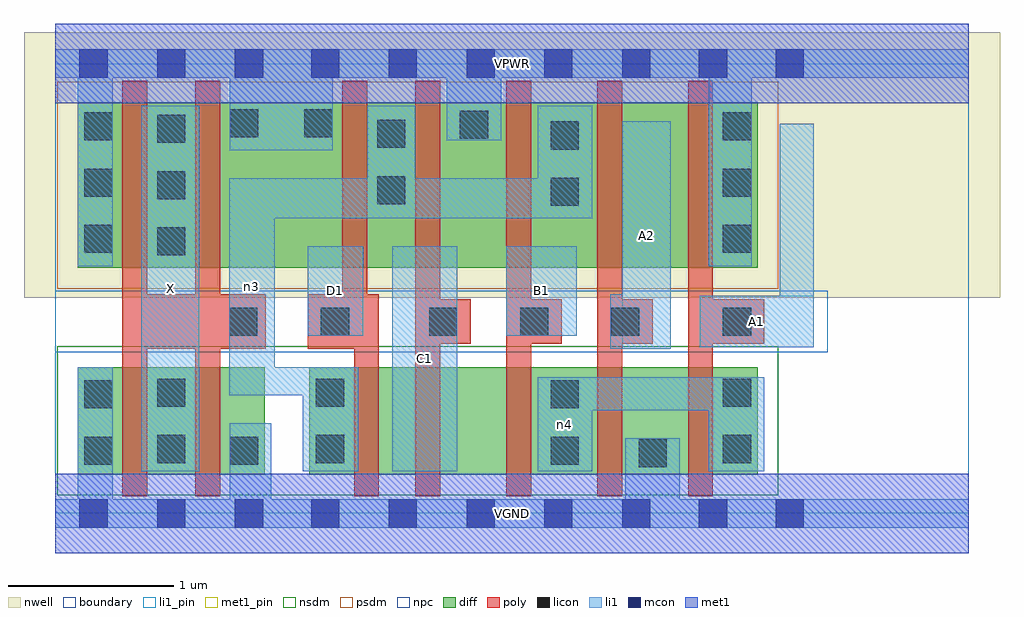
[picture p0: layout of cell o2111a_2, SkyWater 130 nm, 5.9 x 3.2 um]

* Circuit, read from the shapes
.subckt o2111a_2 A1 A2 B1 C1 D1 VGND VPWR X n3 n4
XM1 X n3 VGND VSUBS sky130_fd_pr__nfet_01v8 w=0.65 l=0.15 m=2
XM2 n1 D1 n3 VSUBS sky130_fd_pr__nfet_01v8 w=0.65 l=0.15
XM3 n2 C1 n1 VSUBS sky130_fd_pr__nfet_01v8 w=0.65 l=0.15
XM4 n4 B1 n2 VSUBS sky130_fd_pr__nfet_01v8 w=0.65 l=0.15
XM5 VGND A2 n4 VSUBS sky130_fd_pr__nfet_01v8 w=0.65 l=0.15
XM6 n4 A1 VGND VSUBS sky130_fd_pr__nfet_01v8 w=0.65 l=0.15
XM7 X n3 VPWR n5 sky130_fd_pr__pfet_01v8 w=1 l=0.15 m=2
XM8 n3 D1 VPWR n5 sky130_fd_pr__pfet_01v8 w=1 l=0.15
XM9 VPWR C1 n3 n5 sky130_fd_pr__pfet_01v8 w=1 l=0.15
XM10 n3 B1 VPWR n5 sky130_fd_pr__pfet_01v8 w=1 l=0.15
XM11 n6 A2 n3 n5 sky130_fd_pr__pfet_01v8 w=1 l=0.15
XM12 VPWR A1 n6 n5 sky130_fd_pr__pfet_01v8 w=1 l=0.15
.ends

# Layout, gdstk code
import gdstk
lib = gdstk.Library(unit=1e-6, precision=1e-09)
def R(c, l, rs):  # rectangles x0, y0, x1, y1
    for r in rs: c.add(gdstk.rectangle(r[:2], r[2:], *l))
def A(c, l, x, y, w, h, nx, ny, dx, dy):  # array of equal rectangles
    R(c, l, [(x+i*dx, y+j*dy, x+i*dx+w, y+j*dy+h) for i in range(nx) for j in range(ny)])
nwell = (64, 20)
diff = (65, 20)
poly = (66, 20)
licon = (66, 44)
li1_pin = (67, 16)
li1 = (67, 20)
mcon = (67, 44)
met1_pin = (68, 16)
met1 = (68, 20)
nsdm = (93, 44)
psdm = (94, 20)
npc = (95, 20)
boundary = (235, 4)

o2111a_2 = lib.new_cell('o2111a_2')
R(o2111a_2, nwell, [(-0.19,1.305,5.71,2.91), (0,1.305,5.52,2.91)])
R(o2111a_2, diff, [(0.135,0.235,1.265,0.885), (1.535,0.235,4.245,0.885), (0.135,1.485,4.245,2.485)])
A(o2111a_2, poly, 2.175, 0.105, 0.15, 2.51, 4, 1, 0.55, 0)
A(o2111a_2, poly, 2.175, 1.025, 0.335, 0.27, 3, 1, 0.55, 0)
R(o2111a_2, poly, [(0.405,0.105,0.555,2.615), (0.845,0.105,0.995,2.615), (1.805,0.105,1.955,1.325), (0.405,0.995,1.27,1.325), (1.525,0.995,1.955,1.325), (1.735,0.995,1.885,2.615), (3.825,1.025,4.285,1.295)])
A(o2111a_2, licon, 2.26, 1.075, 0.17, 0.17, 3, 1, 0.55, 0)
A(o2111a_2, licon, 0.615, 1.56, 0.17, 0.17, 1, 3, 0, 0.34)
A(o2111a_2, licon, 0.175, 1.575, 0.17, 0.17, 1, 3, 0, 0.34)
A(o2111a_2, licon, 4.035, 1.575, 0.17, 0.17, 1, 3, 0, 0.34)
R(o2111a_2, licon, [(3.525,0.28,3.695,0.45), (0.175,0.295,0.345,0.465), (1.055,0.295,1.225,0.465), (2.995,0.295,3.165,0.465), (0.615,0.305,0.785,0.475), (1.575,0.305,1.745,0.475), (4.035,0.305,4.205,0.475), (0.175,0.635,0.345,0.805), (2.995,0.635,3.165,0.805), (0.615,0.645,0.785,0.815), (1.575,0.645,1.745,0.815), (4.035,0.645,4.205,0.815), (1.05,1.075,1.22,1.245), (1.605,1.075,1.775,1.245), (4.035,1.075,4.205,1.245), (2.995,1.86,3.165,2.03), (1.945,1.87,2.115,2.04), (2.995,2.2,3.165,2.37), (1.945,2.21,2.115,2.38), (2.445,2.265,2.615,2.435), (1.055,2.275,1.225,2.445), (1.505,2.275,1.675,2.445)])
R(o2111a_2, li1_pin, [(0.52,0.255,0.87,2.465), (2.035,0.255,2.43,1.615), (3.425,0.995,3.72,2.37), (3.895,1.005,4.585,1.315), (1.525,1.075,1.86,1.615), (2.725,1.075,3.15,1.615)])
R(o2111a_2, li1, [(0,-0.085,5.52,0.085), (0.135,-0.085,0.345,0.885), (1.055,-0.085,1.305,0.545), (3.445,-0.085,3.775,0.455), (0.52,0.255,0.87,2.465), (1.495,0.255,1.83,0.885), (2.035,0.255,2.43,1.615), (2.915,0.255,3.245,0.825), (3.95,0.255,4.285,0.825), (2.915,0.625,4.285,0.825), (1.05,0.715,1.325,2.025), (1.05,0.715,1.83,0.885), (3.355,0.995,3.72,1.325), (3.425,0.995,3.72,2.37), (3.895,1.005,4.585,1.315), (4.38,1.005,4.585,2.355), (1.525,1.075,1.86,1.615), (2.725,1.075,3.15,1.615), (0.135,1.495,0.345,2.805), (3.95,1.495,4.21,2.805), (1.05,1.785,3.245,2.025), (1.885,1.785,2.175,2.465), (2.915,1.785,3.245,2.465), (1.055,2.195,1.675,2.805), (2.365,2.255,2.695,2.805), (0,2.635,5.52,2.805)])
A(o2111a_2, mcon, 0.145, -0.085, 0.17, 0.17, 3, 2, 0.47, 2.72)
A(o2111a_2, mcon, 1.545, -0.085, 0.17, 0.17, 5, 2, 0.47, 2.72)
R(o2111a_2, mcon, [(3.89,-0.085,4.06,0.085), (4.355,-0.085,4.525,0.085), (3.89,2.635,4.06,2.805), (4.355,2.635,4.525,2.805)])
R(o2111a_2, met1_pin, [(0,-0.24,5.52,0.24), (0,2.48,5.52,2.96)])
R(o2111a_2, met1, [(0,-0.24,5.52,0.24), (0,2.48,5.52,2.96)])
R(o2111a_2, nsdm, [(0.01,0.11,4.37,1.01)])
R(o2111a_2, psdm, [(0.01,1.36,4.37,2.61)])
R(o2111a_2, npc, [(0,0.975,4.67,1.345)])
R(o2111a_2, boundary, [(0,0,5.52,2.72)])
o2111a_2.add(gdstk.Label('A1', (4.24,1.16), layer=67, texttype=5))
o2111a_2.add(gdstk.Label('A2', (3.572,1.682), layer=67, texttype=5))
o2111a_2.add(gdstk.Label('B1', (2.937,1.345), layer=67, texttype=5))
o2111a_2.add(gdstk.Label('C1', (2.232,0.935), layer=67, texttype=5))
o2111a_2.add(gdstk.Label('D1', (1.692,1.345), layer=67, texttype=5))
o2111a_2.add(gdstk.Label('X', (0.695,1.36), layer=67, texttype=5))
o2111a_2.add(gdstk.Label('n4', (3.08,0.54), layer=67, texttype=5))
o2111a_2.add(gdstk.Label('n3', (1.187,1.37), layer=67, texttype=5))
o2111a_2.add(gdstk.Label('VPWR', (2.76,2.72), layer=68, texttype=5))
o2111a_2.add(gdstk.Label('VGND', (2.76,0), layer=68, texttype=5))
o2111a_2.add(gdstk.Label('A1', (4.24,1.16), layer=67, texttype=16))
o2111a_2.add(gdstk.Label('A2', (3.572,1.682), layer=67, texttype=16))
o2111a_2.add(gdstk.Label('B1', (2.937,1.345), layer=67, texttype=16))
o2111a_2.add(gdstk.Label('C1', (2.232,0.935), layer=67, texttype=16))
o2111a_2.add(gdstk.Label('D1', (1.692,1.345), layer=67, texttype=16))
o2111a_2.add(gdstk.Label('X', (0.695,1.36), layer=67, texttype=16))
o2111a_2.add(gdstk.Label('VPWR', (2.76,2.72), layer=68, texttype=16))
o2111a_2.add(gdstk.Label('VGND', (2.76,0), layer=68, texttype=16))

lib.write_gds('o2111a_2.gds')
